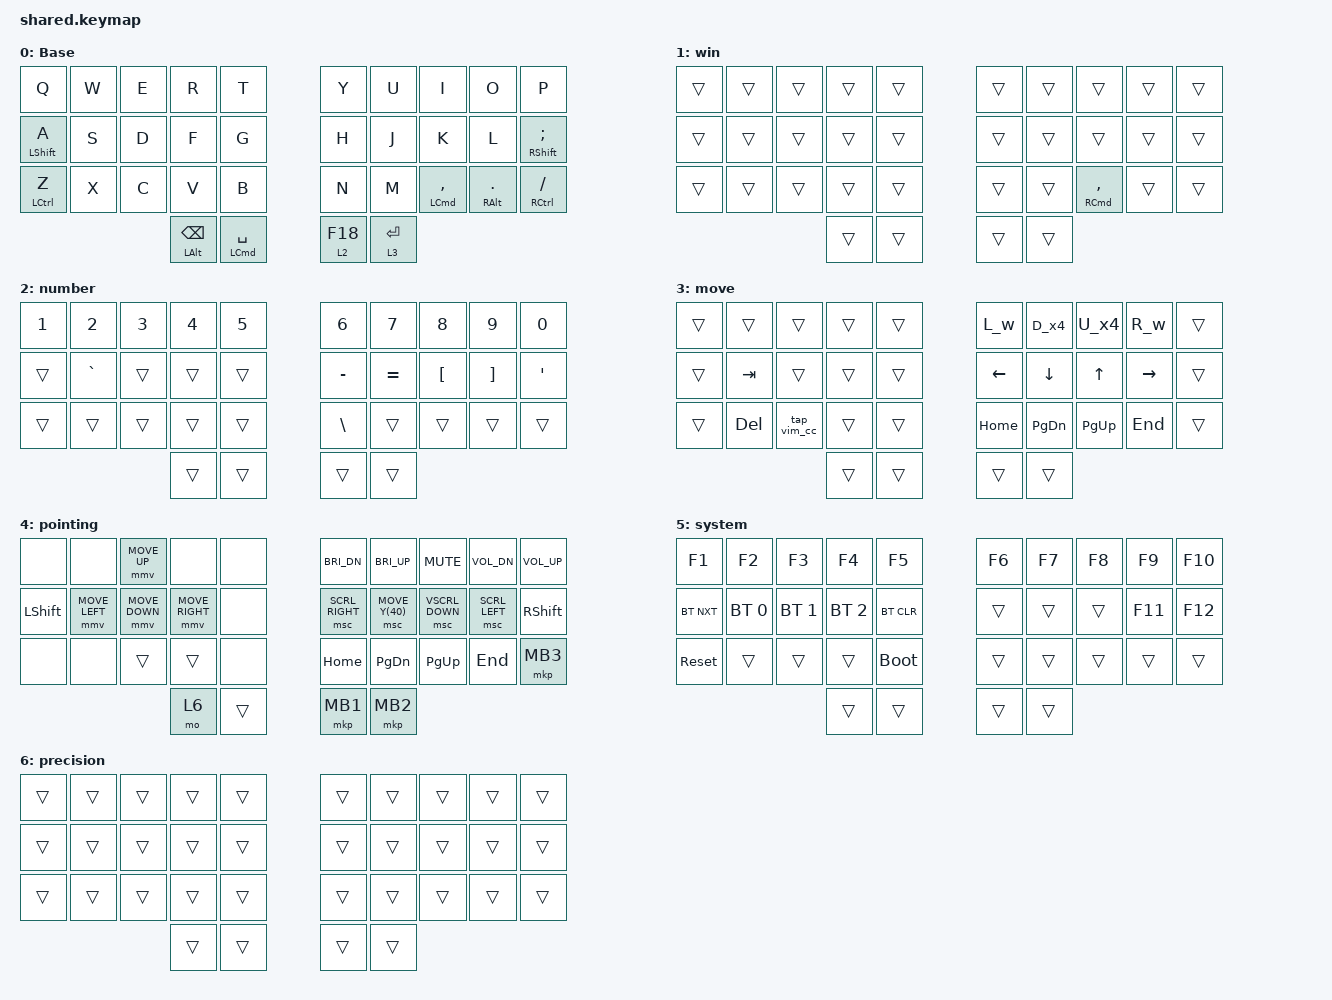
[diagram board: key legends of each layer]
/*
 * Copyright (c) 2020 duckyb
 *
 * SPDX-License-Identifier: MIT
 */

#include "keymap_italian.h"
#include <behaviors.dtsi>
#include <dt-bindings/zmk/bt.h>
#include <dt-bindings/zmk/keys.h>

// Mouse max velocity (ZMK default 600). Must be defined before including
// pointing.h, which bakes it into the MOVE_* defines.
//
// With acceleration-exponent = 1 the speed curve is v(t) = VAL * t / time-to-max-speed-ms,
// so the two knobs are independent:
//   VAL / time-to-max-speed-ms  ->  how quickly the cursor picks up from a standstill
//   VAL                         ->  top speed (how hard fine positioning is)
// Sluggish start? lower time-to-max-speed-ms. Too fast? lower both by the same ratio.
#define ZMK_POINTING_DEFAULT_MOVE_VAL 1100

// Scroll rate, in wheel detents per second. Scroll has NO acceleration ramp
// (&msc ships acceleration-exponent 0), so the only thing this controls is a flat rate,
// and first-detent latency is locked to it at 1000 / VAL ms:
//
//   VAL     first detent     sustained
//    10       112 ms          10 /s     <- ZMK default: taps under 112ms scroll nothing
//    20        64 ms          20 /s
//    30        48 ms          30 /s
//    40        32 ms          40 /s
//    63+       16 ms          62 /s     <- ceiling, one detent every 16ms tick
//
// Vertical gets its own higher rate. ZMK has no axis asymmetry - both axes share one
// rate - but the same detent rate feels far slower vertically because there is much
// more distance to cover.
#define ZMK_POINTING_DEFAULT_SCRL_VAL 20  // horizontal, default 10

#include <dt-bindings/zmk/pointing.h>
#include <input/processors.dtsi>

#define VSCRL_UP   MOVE_Y(40)
#define VSCRL_DOWN MOVE_Y(-40)

// Layer definitions

#define BASE 0
#define SYM 1
#define EXT 2
#define FNC 3
#define SYM2 4
#define ACCENT 5
#define SETTINGS 6

// -----------------

&mt { flavor = "tap-preferred"; };

// Keyboard mouse (ESDF).
// acceleration-exponent must stay 1. The ramp is tracked per axis and restarts whenever
// that axis' net speed hits 0, so with exponent 2 a newly pressed direction is nearly
// frozen for its first ~50ms and 8-way/diagonal transitions visibly stutter.
&mmv {
    time-to-max-speed-ms = <150>;
    acceleration-exponent = <1>;
};

// Scroll stays at exponent 0 on purpose: constant rate from the very first detent, so
// reversing or switching axes never re-ramps. Speed is set by the SCRL values above.
//
// Note that with exponent 0 speed() early-returns max_speed, so time-to-max-speed-ms is
// never read for this behavior. Tuning it does nothing.
//
// Do NOT reach for CONFIG_ZMK_POINTING_SMOOTH_SCROLLING to fix scroll latency. At the
// pinned ZMK revision apply_resolution_scaling() assigns the unscaled value back to the
// event, and the default multiplier profile makes the divisor 1 anyway, so it changes
// nothing here - while being reported broken over BLE on macOS (zmk#2957).
&msc {
    acceleration-exponent = <0>;
};

// Precision mode: on the pointing layer, hold the left thumb key that types BACKSPACE
// on the base layer (position 30) to halve cursor and scroll speed. The other left thumb
// is left alone so LCMD is still available for cmd-click.
// The listener re-checks active layers on every input event, so this engages mid-move
// without resetting the acceleration ramp. The scalers track remainders, so halving
// does not drop sub-pixel movement.
// For scroll this lands back near ZMK's stock feel: vertical 40 -> 20/s, horizontal
// 20 -> 10/s. Note the scaler runs before resolution scaling, so it divides raw detents.
&mmv_input_listener {
    precision {
        layers = <6>;
        input-processors = <&zip_xy_scaler 1 2>;
    };
};

&msc_input_listener {
    precision {
        layers = <6>;
        input-processors = <&zip_scroll_scaler 1 2>;
    };
};

/ {
    behaviors {
        ht: hold_tap {
            compatible = "zmk,behavior-hold-tap";
            #binding-cells = <2>;
            flavor = "tap-preferred";
            tapping-term-ms = <220>;
            quick-tap-ms = <150>;
            require-prior-idle-ms = <100>;
            bindings = <&kp>, <&kp>;
        };

        tap_vim_cc: tap_vim_cc {
            compatible = "zmk,behavior-tap-dance";
            label = "TAP_VIM_CC";
            #binding-cells = <0>;
            bindings = <&none>, <&vim_cc>;

            tapping-term-ms = <50>;
        };
    };

    macros {
        // sometimes my device thinks a modifier is being held down
        // pressing all modifiers fixes it.

        L_w: L_W {
            compatible = "zmk,behavior-macro";
            #binding-cells = <0>;
            bindings =
                <&macro_press>,
                <&kp LALT>,
                <&macro_tap>,
                <&kp LEFT>,
                <&macro_release>,
                <&kp LALT>;

            label = "L_W";
        };

        D_x4: D_X4 {
            compatible = "zmk,behavior-macro";
            #binding-cells = <0>;
            bindings = <&kp DOWN &kp DOWN &kp DOWN &kp DOWN>;
            label = "D_X4";
        };

        U_x4: U_X4 {
            compatible = "zmk,behavior-macro";
            #binding-cells = <0>;
            bindings = <&kp UP_ARROW &kp UP_ARROW &kp UP_ARROW &kp UP_ARROW>;
            label = "U_X4";
        };

        R_w: R_W {
            compatible = "zmk,behavior-macro";
            #binding-cells = <0>;
            bindings =
                <&macro_press>,
                <&kp LALT>,
                <&macro_tap>,
                <&kp RIGHT>,
                <&macro_release>,
                <&kp LALT>;

            label = "R_W";
        };

        vim_cb: vim_cb {
            compatible = "zmk,behavior-macro";
            #binding-cells = <0>;
            bindings =
                <&macro_press>,
                <&kp LALT>,
                <&macro_tap>,
                <&kp BACKSPACE>,
                <&macro_release>,
                <&kp LALT>;

            label = "VIM_CB";
        };

        vim_cw: vim_cw {
            compatible = "zmk,behavior-macro";
            #binding-cells = <0>;
            bindings =
                <&macro_press>,
                <&kp LALT>,
                <&macro_tap>,
                <&kp DELETE>,
                <&macro_release>,
                <&kp LALT>;

            label = "VIM_CW";
        };

        vim_cc: vim_cc {
            compatible = "zmk,behavior-macro";
            #binding-cells = <0>;
            bindings =
                <&kp END>,
                <&macro_press>,
                <&kp LSHFT>,
                <&macro_tap>,
                <&kp HOME>,
                <&macro_release>,
                <&kp LSHFT>,
                <&macro_tap>,
                <&kp DELETE>;

            label = "VIM_CC";
        };
    };

    combos {
        compatible = "zmk,combos";

        // both right thumb keys
        // internal-left & external-right thumb keys
        // both left thumb keys
        // left index & middle fingers (home-row)
        // hold control & space for Adobe workflow

        combo_esc {
            bindings = <&kp ESCAPE>;
            key-positions = <16 17>;
        };

        TG4_on {
            bindings = <&tog 4>;
            key-positions = <32 33>;
            layers = <0>;
        };

        TG4_off {
            bindings = <&tog 4>;
            key-positions = <32 33>;
            layers = <4>;
        };

        vim_cw {
            bindings = <&vim_cw>;
            key-positions = <22 1>;
            timeout-ms = <1000>;
            layers = <3>;
        };

        vim_cb {
            bindings = <&vim_cb>;
            key-positions = <22 24>;
            timeout-ms = <1000>;
            layers = <3>;
        };

        mo_system {
            bindings = <&mo 5>;
            key-positions = <19 29>;
        };
    };

    keymap {
        compatible = "zmk,keymap";

        // Base alpha layer

        default_layer {
            label = "Base";
            bindings = <
  &kp Q        &kp W  &kp E  &kp R               &kp T             &kp Y      &kp U        &kp I           &kp O         &kp P
  &mt LSHFT A  &kp S  &kp D  &kp F               &kp G             &kp H      &kp J        &kp K           &kp L         &mt RSHFT SEMICOLON
  &mt LCTRL Z  &kp X  &kp C  &kp V               &kp B             &kp N      &kp M        &mt LCMD COMMA  &mt RALT DOT  &mt RCTRL SLASH
                             &mt LALT BACKSPACE  &mt LCMD SPACE    &lt 2 F18  &lt 3 ENTER
            >;
        };

        // Windows override layer. Only remaps the COMMA mod-tap to RCMD
        // (macOS default on Base is LCMD). Sits directly above Base so the
        // higher layers (number/move/pointing/...) still take precedence at
        // this position. Activated automatically by src/profile_layer_sync.c
        // whenever BT profile 1 (Windows host) is active - keep this layer at
        // index 1 or update WINDOWS_LAYER_INDEX there.
        windows {
            label = "win";
            bindings = <
  &trans  &trans  &trans  &trans  &trans    &trans  &trans  &trans          &trans  &trans
  &trans  &trans  &trans  &trans  &trans    &trans  &trans  &trans          &trans  &trans
  &trans  &trans  &trans  &trans  &trans    &trans  &trans  &mt RCMD COMMA  &trans  &trans
                          &trans  &trans    &trans  &trans
            >;
        };

        number {
            bindings = <
  &kp N1  &kp N2     &kp N3  &kp N4  &kp N5    &kp N6     &kp N7     &kp N8    &kp N9    &kp N0
  &trans  &kp GRAVE  &trans  &trans  &trans    &kp MINUS  &kp EQUAL  &kp LBKT  &kp RBKT  &kp APOS
  &trans  &trans     &trans  &trans  &trans    &kp BSLH   &trans     &trans    &trans    &trans
                             &trans  &trans    &trans     &trans
            >;

            label = "number";
        };

        move {
            bindings = <
  &trans  &trans      &trans       &trans  &trans    &L_w      &D_x4          &U_x4         &R_w       &trans
  &trans  &kp TAB     &trans       &trans  &trans    &kp LEFT  &kp DOWN       &kp UP_ARROW  &kp RIGHT  &trans
  &trans  &kp DELETE  &tap_vim_cc  &trans  &trans    &kp HOME  &kp PAGE_DOWN  &kp PG_UP     &kp END    &trans
                                   &trans  &trans    &trans    &trans
            >;

            label = "move";
        };

        pointing {
            bindings = <
  &none      &none           &mmv MOVE_UP    &none            &none     &kp C_BRI_DN    &kp C_BRI_UP     &kp C_MUTE       &kp C_VOL_DN     &kp C_VOL_UP
  &kp LSHFT  &mmv MOVE_LEFT  &mmv MOVE_DOWN  &mmv MOVE_RIGHT  &none     &msc SCRL_RIGHT &msc VSCRL_UP    &msc VSCRL_DOWN  &msc SCRL_LEFT   &kp RSHFT
  &none      &none           &trans          &trans           &none     &kp HOME        &kp PAGE_DOWN    &kp PG_UP        &kp END          &mkp MB3
                                             &mo 6            &trans    &mkp MB1        &mkp MB2
            >;

            label = "pointing";
        };

        system {
            bindings = <
  &kp F1      &kp F2        &kp F3        &kp F4        &kp F5         &kp F6  &kp F7  &kp F8  &kp F9   &kp F10
  &bt BT_NXT  &bt BT_SEL 0  &bt BT_SEL 1  &bt BT_SEL 2  &bt BT_CLR     &trans  &trans  &trans  &kp F11  &kp F12
  &sys_reset  &trans        &trans        &trans        &bootloader    &trans  &trans  &trans  &trans   &trans
                                          &trans        &trans         &trans  &trans
            >;

            label = "system";
        };

        // Layer 6. Held from the pointing layer's left BACKSPACE thumb (position 30).
        // Every key is transparent on purpose: this layer exists only so the
        // mmv/msc input listeners can detect it and halve the movement speed.
        pointing_precision {
            bindings = <
  &trans  &trans  &trans  &trans  &trans    &trans  &trans  &trans  &trans  &trans
  &trans  &trans  &trans  &trans  &trans    &trans  &trans  &trans  &trans  &trans
  &trans  &trans  &trans  &trans  &trans    &trans  &trans  &trans  &trans  &trans
                          &trans  &trans    &trans  &trans
            >;

            label = "precision";
        };

        // Main modifiers and arrow keys
        // Function keys with modifiers
        // Low frequency symbols.
        // Used to type regional accents.
        // Used to change the keyboard's settings.move {};
    };
};
